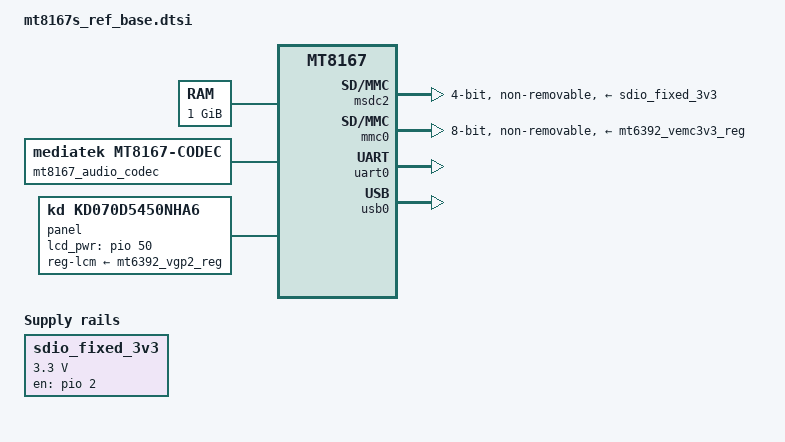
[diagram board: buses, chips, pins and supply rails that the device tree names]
/*
 * Copyright (c) 2014-2015 MediaTek Inc.
 *
 * This program is free software; you can redistribute it and/or modify
 * it under the terms of the GNU General Public License version 2 as
 * published by the Free Software Foundation.
 *
 * This program is distributed in the hope that it will be useful,
 * MERCHANTABILITY or FITNESS FOR A PARTICULAR PURPOSE.  See the
 * GNU General Public License for more details.
 */

#include "mt8167.dtsi"
#include "mt6392.dtsi"
#include "mt8167s_ref_bat_setting.dtsi"
#include <dt-bindings/gpio/gpio.h>

/ {
	sdio_fixed_3v3: fixedregulator@2 {
		compatible = "regulator-fixed";
		regulator-name = "sdio_fixed_3v3";
		regulator-min-microvolt = <3300000>;
		regulator-max-microvolt = <3300000>;
		gpio = <&pio 2 GPIO_ACTIVE_HIGH>;
		enable-active-high;
		startup-delay-us = <500000>;
	};

	memory@00000000 {
		device_type = "memory";
		reg = <0 0x40000000 0 0x40000000>;
	};

	/* chosen */
	chosen {
		bootargs = "console=ttyS0,921600n1 root=/dev/ram initrd=0x44000200,0x200000";
	};

	ethernet: ethernet@11180000 {
		compatible = "mediatek,mt8516-ethernet";
		reg = <0 0x11180000 0 0x1000>,
		      <0 0x10003400 0 0x1000>;
		interrupts = <GIC_SPI 111 IRQ_TYPE_LEVEL_LOW>;
		eth-gpios = <&pio 34 0>;
		clocks = <&topckgen CLK_TOP_RG_ETH>,
			 <&topckgen CLK_TOP_66M_ETH>,
			 <&topckgen CLK_TOP_133M_ETH>;
		clock-names = "core", "reg", "trans";
		eth-regulator-supply = <&mt6392_vmch_reg>;
		pinctrl-names = "default";
		pinctrl-0 = <&ethernet_pins_default>;
		mac-address = [00 00 00 00 00 00];
		/*local-mac-address = [00 0C E7 06 00 00];*/
		status = "disabled";
	};

	mtcpufreq {
		compatible = "mediatek,mt8167-cpufreq";
	};

	mt8167_audio_codec: mt8167_audio_codec {
		compatible = "mediatek,mt8167-codec";
		clocks = <&topckgen CLK_TOP_AUDIO>;
		clock-names = "bus";
		mediatek,afe-regmap = <&afe>;
		mediatek,apmixedsys-regmap = <&apmixedsys>;
		mediatek,pwrap-regmap = <&pwrap>;
		mediatek,speaker-mode = <0>; /* 0(CLASSD) 1(CLASSAB) */
		mediatek,dmic-wire-mode = <1>; /* 0(ONE_WIRE) 1(TWO_WIRE) */
		mediatek,headphone-cap-sel = <1>; /* 0(10UF) 1(22UF) 2(33UF) 3(47UF) */
	};

	panel: panel@0 {
		compatible = "kd,kd070d5450nha6";
		pinctrl-names = "default";
		gpio_lcd_pwr = <&pio 50 0>;
		reg-lcm-supply = <&mt6392_vgp2_reg>;
		status = "okay";
	};

	sound: sound {
		compatible = "mediatek,mt8516-mt7668-ref";
		mediatek,platform = <&afe>;
		pinctrl-names = "default";
		pinctrl-0 = <&aud_pins_default>;
		status = "okay";
	};

	msdc2: sdio@11170000 {
		compatible = "mediatek,mt8167-sdio";
		reg = <0 0x11170000 0 0x1000>,
		      <0 0x10001030 0 0x10>;
		module_reset_bit = <23>;
		interrupts = <GIC_SPI 109 IRQ_TYPE_LEVEL_LOW>;
		/* power domain always on */
		clocks = <&topckgen CLK_TOP_RG_MSDC2>,
			 <&topckgen CLK_TOP_MSDC2>,
			 <&topckgen CLK_TOP_MSDC2_INFRA>;
		clock-names = "source", "hclk", "source_cg";
		status = "disabled";
	};
};

&accdet {
	interrupts-extended = <&sysirq GIC_SPI 152 IRQ_TYPE_LEVEL_LOW>,
			<&pio 16 IRQ_TYPE_LEVEL_HIGH>;
	eint-debounce = <256000>;
	accdet-gpio = <&pio 16 0>;
	accdet-mic-vol = <7>;
	headset-mode-setting = <0x500 0x500 1 0x1f0 0x800 0x800 0x20>;
	accdet-plugout-debounce = <20>;
	/*1:ACC mode, 2:low cost without in bias, 6:low cost with in bias*/
	accdet-mic-mode = <1>;
	/*0--MD_MAX--UP_MAX--DW_MAX*/
	headset-three-key-threshold = <0 80 220 500>;
	/*0--MD_MAX--VOICE_MAX--UP_MAX--DW_MAX*/
	headset-four-key-threshold = <0 58 121 192 450>;
	status = "disabled";
};

&afe {
	/* 0(HDMI) 1(I2S) 2(TDM) */
	mediatek,tdm-out-mode = <1>;
	/* 0(IRQ1) 1(IRQ2) 4(IRQ7) */
	mediatek,awb-irq-mode = <4>;
	/* 0(seperate clock) 1(shared clock) */
	mediatek,i2s-clock-modes = <1 1>;
	/* 1(optical) 2(coaxial) 3(arc) */
	mediatek,spdif-in-port = <1>;
};

&bat_comm {
	interrupt-parent = <&pmic>;
	interrupts = <10 IRQ_TYPE_LEVEL_HIGH>;
};

&cpu0 {
	proc-supply = <&mt6392_vproc_reg>;
};

&cpu1 {
	proc-supply = <&mt6392_vproc_reg>;
};

&cpu2 {
	proc-supply = <&mt6392_vproc_reg>;
};

&cpu3 {
	proc-supply = <&mt6392_vproc_reg>;
};

&hdmi0 {
	pinctrl-names = "default", "hdmi_hpd";
	pinctrl-0 = <&hdmi_pins_default>;
	pinctrl-1 = <&hdmi_pins_hpd>;
	status = "disabled";
};

&i2c0 {
	clock-div = <2>;
	pinctrl-names = "default";
	pinctrl-0 = <&i2c0_pins_a>;
	status = "disabled";
};

&i2c1 {
	clock-div = <2>;
	pinctrl-names = "default";
	pinctrl-0 = <&i2c1_pins_a>;
	status = "disabled";
};

&i2c2 {
	clock-div = <2>;
	pinctrl-names = "default";
	pinctrl-0 = <&i2c2_pins_a>;
	status = "disabled";
};

&irrx {
	pinctrl-names = "default";
	pinctrl-0 = <&irrx_pins_ir_input>;
	status = "disabled";
};

&keypad {
	mediatek,kpd-key-debounce = <1024>;
	mediatek,kpd-sw-pwrkey = <116>;
	mediatek,kpd-hw-pwrkey = <8>;
	mediatek,kpd-sw-rstkey  = <114>;
	mediatek,kpd-hw-rstkey = <17>;
	mediatek,kpd-use-extend-type = <0>;
	/*HW Keycode [0~71] -> Linux Keycode*/
	mediatek,kpd-hw-map-num = <72>;
	mediatek,kpd-hw-init-map = <115 113 0 0 0 0 0 0 0 0 0 0 0 0 0 0 0 0 0 0 0 0 0 0
			0 0 0 0 0 0 0 0 0 0 0 0 0 0 0 0 0 0 0 0 0 0 0 0
			0 0 0 0 0 0 0 0 0 0 0 0 0 0 0 0 0 0 0 0 0 0 0 0 >;
	mediatek,kpd-pwrkey-eint-gpio = <0>;
	mediatek,kpd-pwkey-gpio-din  = <0>;
	mediatek,kpd-hw-dl-key0 = <0>;
	mediatek,kpd-hw-dl-key1 = <17>;
	mediatek,kpd-hw-dl-key2 = <8>;
	mediatek,kpd-hw-recovery-key = <17>;
	mediatek,kpd-hw-factory-key  = <0>;
	status = "disabled";
};

&mmc0 {
	pinctrl-names = "default", "state_uhs";
	pinctrl-0 = <&mmc0_pins_default>;
	pinctrl-1 = <&mmc0_pins_uhs>;
	status = "okay";
	bus-width = <8>;
	max-frequency = <200000000>;
	cap-mmc-highspeed;
	mmc-hs200-1_8v;
	cap-mmc-hw-reset;
	vmmc-supply = <&mt6392_vemc3v3_reg>;
	vqmmc-supply = <&mt6392_vio18_reg>;
	non-removable;
};

&msdc2 {
	pinctrl-names = "state_eint", "default", "state_uhs", "state_dat1";
	pinctrl-0 = <&mmc2_pins_eint>;
	pinctrl-1 = <&mmc2_pins_default>;
	pinctrl-2 = <&mmc2_pins_uhs>;
	pinctrl-3 = <&mmc2_pins_dat1>;
	eint-gpios = <&pio 71 0>;
	status = "okay";
	bus-width = <4>;
	max-frequency = <200000000>;
	cap-sd-highspeed;
	sd-uhs-sdr50;
	sd-uhs-sdr104;
	keep-power-in-suspend;
	enable-sdio-wakeup;
	vmmc-supply = <&sdio_fixed_3v3>;
	cap-sdio-irq;
	non-removable;
};

&mt6392keys {
	mediatek,long-press-mode = <0>;
};

&mt6392_vcn18_reg {
	regulator-always-on;
};

&mt6392_vmch_reg {
	regulator-always-on;
};

&pio {
	pinctrl-names = "default";
	pinctrl-0 = <&state_default>;

	state_default:pinconf_default {
	};


	pwm_goio_def_cfg: pwmdefault {
		pins_cmd_dat {
		};
	};

	aud_pins_default: audiodefault {
		pins_cmd_dat {
			pinmux = <MT8167_PIN_36_MRG_CLK__FUNC_I2S0_BCK>,
				<MT8167_PIN_37_MRG_SYNC__FUNC_I2S0_LRCK>,
				<MT8167_PIN_38_MRG_DI__FUNC_I2S0_DI>,
				<MT8167_PIN_20_EINT20__FUNC_I2S3_DO>,
				<MT8167_PIN_25_EINT25__FUNC_I2S_8CH_MCK>,
				<MT8167_PIN_55_I2S_DATA_IN__FUNC_I2S_8CH_DO1>,
				<MT8167_PIN_56_I2S_LRCK__FUNC_I2S_8CH_LRCK>,
				<MT8167_PIN_57_I2S_BCK__FUNC_I2S_8CH_BCK>,
				<MT8167_PIN_1_EINT1__FUNC_I2S2_DI>,
				<MT8167_PIN_100_CMDAT0__FUNC_TDM_RX_MCK>,
				<MT8167_PIN_101_CMDAT1__FUNC_TDM_RX_BCK>,
				<MT8167_PIN_16_EINT16__FUNC_TDM_RX_LRCK>,
				<MT8167_PIN_103_CMPCLK__FUNC_TDM_RX_DI>;
			drive-strength = <MTK_DRIVE_4mA>;
		};
	};

	dpi_pins_default: dpi_pins_default {
		pins_cmd_dat {
			pins = <MT8167_PIN_0_EINT0__FUNC_DPI_CK>,
			<MT8167_PIN_24_EINT24__FUNC_DPI_DE>,
			<MT8167_PIN_25_EINT25__FUNC_DPI_VSYNC>,
			<MT8167_PIN_35_UTXD2__FUNC_DPI_HSYNC>,
			<MT8167_PIN_13_EINT13__FUNC_DPI_D0>,
			<MT8167_PIN_38_MRG_DI__FUNC_DPI_D1>,
			<MT8167_PIN_39_MRG_DO__FUNC_DPI_D2>,
			<MT8167_PIN_37_MRG_SYNC__FUNC_DPI_D3>,
			<MT8167_PIN_36_MRG_CLK__FUNC_DPI_D4>,
			<MT8167_PIN_34_URXD2__FUNC_DPI_D5>,
			<MT8167_PIN_7_EINT7__FUNC_DPI_D6>,
			<MT8167_PIN_8_EINT8__FUNC_DPI_D7>,
			<MT8167_PIN_9_EINT9__FUNC_DPI_D8>,
			<MT8167_PIN_10_EINT10__FUNC_DPI_D9>,
			<MT8167_PIN_11_EINT11__FUNC_DPI_D10>,
			<MT8167_PIN_12_EINT12__FUNC_DPI_D11>,
			<MT8167_PIN_1_EINT1__FUNC_DPI_D12>,
			<MT8167_PIN_2_EINT2__FUNC_DPI_D13>,
			<MT8167_PIN_3_EINT3__FUNC_DPI_D14>,
			<MT8167_PIN_4_EINT4__FUNC_DPI_D15>,
			<MT8167_PIN_5_EINT5__FUNC_DPI_D16>,
			<MT8167_PIN_6_EINT6__FUNC_DPI_D17>;
			drive-strength = <MTK_DRIVE_8mA>;
		};
	};

	ethernet_pins_default: ethernet {
		pins_ethernet {
			pinmux = <MT8167_PIN_0_EINT0__FUNC_EXT_TXD0>,
				 <MT8167_PIN_1_EINT1__FUNC_EXT_TXD1>,
				 <MT8167_PIN_2_EINT2__FUNC_EXT_TXD2>,
				 <MT8167_PIN_3_EINT3__FUNC_EXT_TXD3>,
				 <MT8167_PIN_4_EINT4__FUNC_EXT_TXC>,
				 <MT8167_PIN_5_EINT5__FUNC_EXT_RXER>,
				 <MT8167_PIN_6_EINT6__FUNC_EXT_RXC>,
				 <MT8167_PIN_7_EINT7__FUNC_EXT_RXDV>,
				 <MT8167_PIN_8_EINT8__FUNC_EXT_RXD0>,
				 <MT8167_PIN_9_EINT9__FUNC_EXT_RXD1>,
				 <MT8167_PIN_10_EINT10__FUNC_EXT_RXD2>,
				 <MT8167_PIN_11_EINT11__FUNC_EXT_RXD3>,
				 <MT8167_PIN_12_EINT12__FUNC_EXT_TXEN>,
				 <MT8167_PIN_37_MRG_SYNC__FUNC_EXT_COL>,
				 <MT8167_PIN_38_MRG_DI__FUNC_EXT_MDIO>,
				 <MT8167_PIN_39_MRG_DO__FUNC_EXT_MDC>;
		};
	};

	hdmi_pins_default: hdmi_pins_default {
	};

	hdmi_pins_hpd: hdmi_pins_hpd {
		pins_cmd_dat {
			pins = <MT8167_PIN_122_HTPLG__FUNC_HTPLG>;
			slew-rate = <0>;
			bias-pull-down;
		};
	};

	i2c0_pins_a: i2c0@0 {
		pins1 {
			pinmux = <MT8167_PIN_58_SDA0__FUNC_SDA0_0>,
				 <MT8167_PIN_59_SCL0__FUNC_SCL0_0>;
			bias-disable;
		};
	};

	i2c1_pins_a: i2c1@0 {
		pins1 {
			pinmux = <MT8167_PIN_52_SDA1__FUNC_SDA1_0>,
				 <MT8167_PIN_53_SCL1__FUNC_SCL1_0>;
			bias-disable;
		};
	};

	i2c2_pins_a: i2c2@0 {
		pins1 {
			pinmux = <MT8167_PIN_60_SDA2__FUNC_SDA2_0>,
				 <MT8167_PIN_61_SCL2__FUNC_SCL2_0>;
			bias-disable;
		};
	};

	irrx_pins_ir_input: irrx_pin_ir {
		pins_cmd_dat {
			pinmux = <MT8167_PIN_36_MRG_CLK__FUNC_IR>;
			bias-disable;
		};
	};

	mmc0_pins_default: mmc0default {
		pins_cmd_dat {
			pinmux = <MT8167_PIN_120_MSDC0_DAT0__FUNC_MSDC0_DAT0>,
				<MT8167_PIN_119_MSDC0_DAT1__FUNC_MSDC0_DAT1>,
				<MT8167_PIN_118_MSDC0_DAT2__FUNC_MSDC0_DAT2>,
				<MT8167_PIN_117_MSDC0_DAT3__FUNC_MSDC0_DAT3>,
				<MT8167_PIN_113_MSDC0_DAT4__FUNC_MSDC0_DAT4>,
				<MT8167_PIN_112_MSDC0_DAT5__FUNC_MSDC0_DAT5>,
				<MT8167_PIN_111_MSDC0_DAT6__FUNC_MSDC0_DAT6>,
				<MT8167_PIN_110_MSDC0_DAT7__FUNC_MSDC0_DAT7>,
				<MT8167_PIN_115_MSDC0_CMD__FUNC_MSDC0_CMD>;
			input-enable;
			bias-pull-up;
		};

		pins_clk {
			pinmux = <MT8167_PIN_116_MSDC0_CLK__FUNC_MSDC0_CLK>;
			bias-pull-down;
		};

		pins_rst {
			pinmux = <MT8167_PIN_114_MSDC0_RSTB__FUNC_MSDC0_RSTB>;
			bias-pull-up;
		};
	};

	mmc0_pins_uhs: mmc0@0{
		pins_cmd_dat {
			pinmux = <MT8167_PIN_120_MSDC0_DAT0__FUNC_MSDC0_DAT0>,
				<MT8167_PIN_119_MSDC0_DAT1__FUNC_MSDC0_DAT1>,
				<MT8167_PIN_118_MSDC0_DAT2__FUNC_MSDC0_DAT2>,
				<MT8167_PIN_117_MSDC0_DAT3__FUNC_MSDC0_DAT3>,
				<MT8167_PIN_113_MSDC0_DAT4__FUNC_MSDC0_DAT4>,
				<MT8167_PIN_112_MSDC0_DAT5__FUNC_MSDC0_DAT5>,
				<MT8167_PIN_111_MSDC0_DAT6__FUNC_MSDC0_DAT6>,
				<MT8167_PIN_110_MSDC0_DAT7__FUNC_MSDC0_DAT7>,
				<MT8167_PIN_115_MSDC0_CMD__FUNC_MSDC0_CMD>;
			input-enable;
			drive-strength = <MTK_DRIVE_6mA>;
			bias-pull-up = <MTK_PUPD_SET_R1R0_01>;
		};

		pins_clk {
			pinmux = <MT8167_PIN_116_MSDC0_CLK__FUNC_MSDC0_CLK>;
			drive-strength = <MTK_DRIVE_8mA>;
			bias-pull-down = <MTK_PUPD_SET_R1R0_10>;
		};

		pins_rst {
			pinmux = <MT8167_PIN_114_MSDC0_RSTB__FUNC_MSDC0_RSTB>;
			bias-pull-up;
		};
	};

	mmc2_pins_eint: dat1_eint {
		pins_dat1 {
			pinmux = <MT8167_PIN_71_MSDC2_DAT1__FUNC_GPIO71>;
			input-enable;
			bias-pull-up = <MTK_PUPD_SET_R1R0_10>;
		};
	};

	mmc2_pins_default: mmc2default {
		pins_cmd_dat {
			pinmux = <MT8167_PIN_70_MSDC2_DAT0__FUNC_MSDC2_DAT0>,
				<MT8167_PIN_71_MSDC2_DAT1__FUNC_MSDC2_DAT1>,
				<MT8167_PIN_72_MSDC2_DAT2__FUNC_MSDC2_DAT2>,
				<MT8167_PIN_73_MSDC2_DAT3__FUNC_MSDC2_DAT3>,
				<MT8167_PIN_68_MSDC2_CMD__FUNC_MSDC2_CMD>;
			input-enable;
			drive-strength = <MTK_DRIVE_6mA>;
			bias-pull-up = <MTK_PUPD_SET_R1R0_01>;
		};

		pins_clk {
			pinmux = <MT8167_PIN_69_MSDC2_CLK__FUNC_MSDC2_CLK>;
			drive-strength = <MTK_DRIVE_6mA>;
			bias-pull-down = <MTK_PUPD_SET_R1R0_10>;
		};
	};

	mmc2_pins_uhs: mmc2@0 {
		pins_cmd_dat {
			pinmux = <MT8167_PIN_70_MSDC2_DAT0__FUNC_MSDC2_DAT0>,
				<MT8167_PIN_71_MSDC2_DAT1__FUNC_MSDC2_DAT1>,
				<MT8167_PIN_72_MSDC2_DAT2__FUNC_MSDC2_DAT2>,
				<MT8167_PIN_73_MSDC2_DAT3__FUNC_MSDC2_DAT3>,
				<MT8167_PIN_68_MSDC2_CMD__FUNC_MSDC2_CMD>;
			input-enable;
			drive-strength = <MTK_DRIVE_6mA>;
			bias-pull-up = <MTK_PUPD_SET_R1R0_01>;
		};

		pins_clk {
			pinmux = <MT8167_PIN_69_MSDC2_CLK__FUNC_MSDC2_CLK>;
			drive-strength = <MTK_DRIVE_8mA>;
			bias-pull-down = <MTK_PUPD_SET_R1R0_10>;
		};
	};

	mmc2_pins_dat1: mmc2_dat1 {
		pins_dat1 {
			pinmux = <MT8167_PIN_71_MSDC2_DAT1__FUNC_MSDC2_DAT1>;
			input-enable;
			drive-strength = <MTK_DRIVE_8mA>;
			bias-pull-up = <MTK_PUPD_SET_R1R0_10>;
		};
	};

	spi_pins_a: spi {
		pins_spi {
			pinmux = <MT8167_PIN_48_SPI_CS__FUNC_SPI_CSB>,
				 <MT8167_PIN_49_SPI_CK__FUNC_SPI_CLK>,
				 <MT8167_PIN_50_SPI_MI__FUNC_SPI_MI>,
				 <MT8167_PIN_51_SPI_MO__FUNC_SPI_MO>;
			bias-disable;
		};
	};

	usb0_drvvbus: drvvbus_init {
		pins_cmd_dat {
			pins = <MT8167_PIN_18_EINT18__FUNC_USB_DRVVBUS>;
			output-low;
		};
	};

	usb0_drvvbus_high: drvvbus_high {
		pins_cmd_dat {
			pins = <MT8167_PIN_18_EINT18__FUNC_USB_DRVVBUS>;
			slew-rate = <1>;
			output-high;
		};
	};

	usb0_drvvbus_low: drvvbus_low {
		pins_cmd_dat {
			pins = <MT8167_PIN_18_EINT18__FUNC_USB_DRVVBUS>;
			slew-rate = <1>;
			output-low;
		};
	};

	usb0_iddig: iddig_irq_init {
		pins_cmd_dat {
			pins = <MT8167_PIN_19_EINT19__FUNC_IDDIG>;
			slew-rate = <0>;
			bias-pull-up = <00>;
		};
	};
};

&pmic {
	interrupt-parent = <&pio>;
	interrupts = <28 IRQ_TYPE_LEVEL_HIGH>;
	interrupt-controller;
	#interrupt-cells = <2>;
};

&ptp_od {
	vproc-supply = <&mt6392_vproc_reg>;
	vcore-supply = <&mt6392_vcore_reg>;
};

&pwm {
	pinctrl-names = "default";
	pinctrl-0 = <&pwm_goio_def_cfg>;
	status = "disabled";
};

&spi {
	pinctrl-names = "default";
	pinctrl-0 = <&spi_pins_a>;
	status = "disabled";

	spidev: spidev@0 {
		compatible = "linux,spidev";
		reg = <0>;
		spi-max-frequency = <1000000>;
	};
};

&uart0 {
	status="okay";
};

&usb0 {
	pinctrl-names = "drvvbus_init", "drvvbus_low", "drvvbus_high";
	pinctrl-0 = <&usb0_iddig>;
	pinctrl-1 = <&usb0_drvvbus>;
	pinctrl-2 = <&usb0_drvvbus_low>;
	pinctrl-3 = <&usb0_drvvbus_high>;
	status = "okay";
	drvvbus_gpio = <&pio 18 2>;
};

